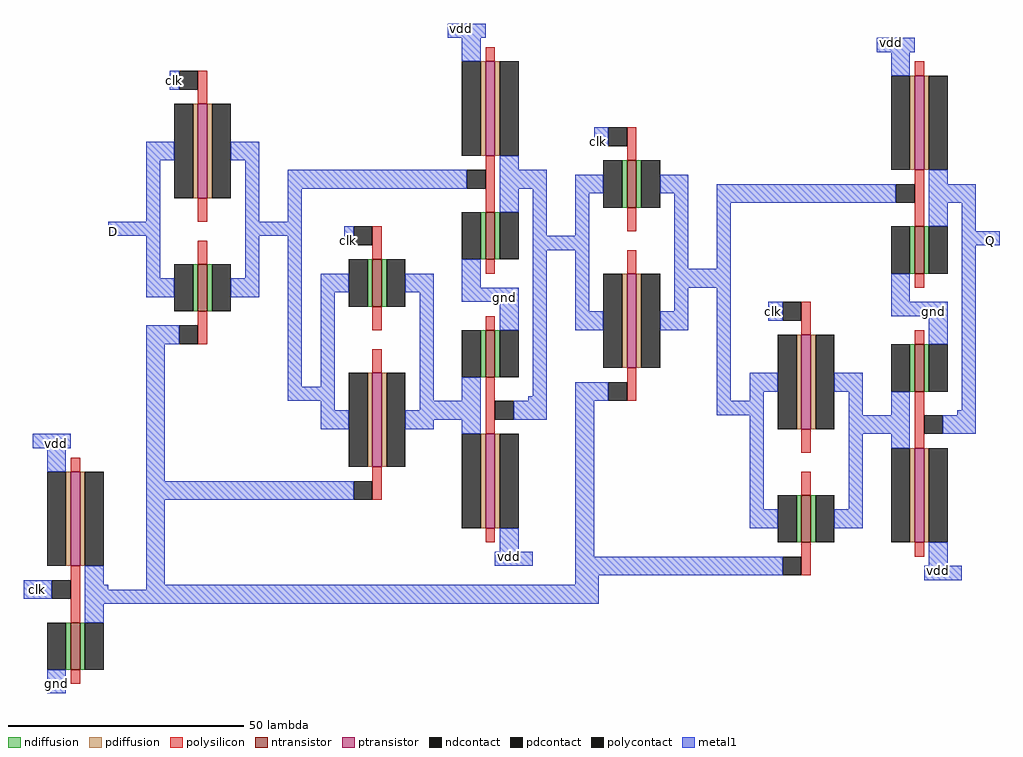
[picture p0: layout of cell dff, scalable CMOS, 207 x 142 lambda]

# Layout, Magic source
magic
tech scmos
<< ntransistor >>
rect -3 109 -1 119
rect -33 98 -31 108
rect -94 87 -92 97
rect -57 88 -55 98
rect 58 95 60 105
rect -33 73 -31 83
rect 58 70 60 80
rect 34 38 36 48
rect -121 11 -119 21
<< ptransistor >>
rect -94 111 -92 131
rect -33 120 -31 140
rect 58 117 60 137
rect -57 54 -55 74
rect -3 75 -1 95
rect 34 62 36 82
rect -121 33 -119 53
rect -33 41 -31 61
rect 58 38 60 58
<< ndiffusion >>
rect -4 109 -3 119
rect -1 109 0 119
rect -34 98 -33 108
rect -31 98 -30 108
rect -95 87 -94 97
rect -92 87 -91 97
rect -58 88 -57 98
rect -55 88 -54 98
rect 57 95 58 105
rect 60 95 61 105
rect -34 73 -33 83
rect -31 73 -30 83
rect 57 70 58 80
rect 60 70 61 80
rect 33 38 34 48
rect 36 38 37 48
rect -122 11 -121 21
rect -119 11 -118 21
<< pdiffusion >>
rect -95 111 -94 131
rect -92 111 -91 131
rect -34 120 -33 140
rect -31 120 -30 140
rect 57 117 58 137
rect 60 117 61 137
rect -58 54 -57 74
rect -55 54 -54 74
rect -4 75 -3 95
rect -1 75 0 95
rect 33 62 34 82
rect 36 62 37 82
rect -122 33 -121 53
rect -119 33 -118 53
rect -34 41 -33 61
rect -31 41 -30 61
rect 57 38 58 58
rect 60 38 61 58
<< ndcontact >>
rect -8 109 -4 119
rect 0 109 4 119
rect -38 98 -34 108
rect -30 98 -26 108
rect -99 87 -95 97
rect -91 87 -87 97
rect -62 88 -58 98
rect -54 88 -50 98
rect 53 95 57 105
rect 61 95 65 105
rect -38 73 -34 83
rect -30 73 -26 83
rect 53 70 57 80
rect 61 70 65 80
rect 29 38 33 48
rect 37 38 41 48
rect -126 11 -122 21
rect -118 11 -114 21
<< pdcontact >>
rect -99 111 -95 131
rect -91 111 -87 131
rect -38 120 -34 140
rect -30 120 -26 140
rect 53 117 57 137
rect 61 117 65 137
rect -62 54 -58 74
rect -54 54 -50 74
rect -8 75 -4 95
rect 0 75 4 95
rect 29 62 33 82
rect 37 62 41 82
rect -126 33 -122 53
rect -118 33 -114 53
rect -38 41 -34 61
rect -30 41 -26 61
rect 53 38 57 58
rect 61 38 65 58
<< polysilicon >>
rect -33 140 -31 143
rect -94 131 -92 138
rect 58 137 60 140
rect -94 106 -92 111
rect -33 108 -31 120
rect -3 119 -1 126
rect -94 97 -92 102
rect -57 98 -55 105
rect -3 104 -1 109
rect 58 105 60 117
rect -33 95 -31 98
rect -3 95 -1 100
rect -94 80 -92 87
rect -57 83 -55 88
rect -33 83 -31 86
rect -57 74 -55 79
rect -121 53 -119 56
rect 58 92 60 95
rect 34 82 36 89
rect -33 61 -31 73
rect -3 68 -1 75
rect 58 80 60 83
rect -57 47 -55 54
rect 34 57 36 62
rect 58 58 60 70
rect 34 48 36 53
rect -33 38 -31 41
rect -121 21 -119 33
rect 34 31 36 38
rect 58 35 60 38
rect -121 8 -119 11
<< polycontact >>
rect -98 134 -94 138
rect -7 122 -3 126
rect -37 113 -33 117
rect 54 110 58 114
rect -61 101 -57 105
rect -98 80 -94 84
rect 30 85 34 89
rect -7 68 -3 72
rect -31 64 -27 68
rect -61 47 -57 51
rect 60 61 64 65
rect -125 26 -121 30
rect 30 31 34 35
<< metal1 >>
rect -41 145 -33 148
rect -38 140 -34 145
rect 50 142 58 145
rect -100 134 -98 138
rect -105 119 -99 123
rect -105 106 -102 119
rect -87 119 -81 123
rect 53 137 57 142
rect -10 122 -7 126
rect -113 103 -102 106
rect -105 94 -102 103
rect -84 106 -81 119
rect -30 117 -26 120
rect -75 113 -37 117
rect -30 113 -20 117
rect -75 106 -72 113
rect -30 108 -26 113
rect -84 103 -72 106
rect -105 90 -99 94
rect -84 94 -81 103
rect -87 90 -81 94
rect -105 80 -98 84
rect -129 58 -121 61
rect -126 53 -122 58
rect -131 26 -125 30
rect -118 29 -114 33
rect -105 51 -101 80
rect -75 71 -72 103
rect -63 101 -61 105
rect -23 103 -20 113
rect -14 112 -8 116
rect -14 103 -11 112
rect 4 112 10 116
rect 61 114 65 117
rect -23 100 -11 103
rect -68 91 -62 95
rect -68 71 -65 91
rect -50 91 -44 95
rect -75 68 -65 71
rect -68 66 -65 68
rect -68 62 -62 66
rect -47 68 -44 91
rect -38 92 -34 98
rect -38 89 -26 92
rect -30 83 -26 89
rect -38 68 -34 73
rect -23 69 -20 100
rect -14 87 -11 100
rect 7 96 10 112
rect 16 110 54 114
rect 61 110 71 114
rect 16 96 19 110
rect 61 105 65 110
rect -14 83 -8 87
rect 7 92 19 96
rect 7 87 10 92
rect 4 83 10 87
rect -24 68 -20 69
rect -47 66 -34 68
rect -50 64 -34 66
rect -27 64 -20 68
rect -14 68 -7 72
rect 16 68 19 92
rect 68 104 71 110
rect 68 101 76 104
rect 53 89 57 95
rect 27 85 30 89
rect 53 86 65 89
rect 23 70 29 74
rect 23 68 26 70
rect -50 62 -44 64
rect -38 61 -34 64
rect -105 47 -61 51
rect -105 29 -101 47
rect -30 36 -26 41
rect -31 33 -23 36
rect -14 35 -10 68
rect 16 65 26 68
rect 23 45 26 65
rect 61 80 65 86
rect 41 70 47 74
rect 44 65 47 70
rect 53 65 57 70
rect 68 66 71 101
rect 67 65 71 66
rect 44 61 57 65
rect 64 61 71 65
rect 23 41 29 45
rect 44 45 47 61
rect 41 41 47 45
rect 53 58 57 61
rect -14 31 30 35
rect 61 33 65 38
rect -14 29 -9 31
rect 60 30 68 33
rect -118 28 -113 29
rect -105 28 -9 29
rect -118 25 -9 28
rect -118 21 -114 25
rect -126 6 -122 11
<< labels >>
rlabel metal1 -128 28 -128 28 3 clk
rlabel metal1 -124 59 -124 59 1 vdd
rlabel metal1 -124 8 -124 8 1 gnd
rlabel metal1 -28 35 -28 35 1 vdd
rlabel metal1 -29 90 -29 90 1 gnd
rlabel metal1 -38 147 -38 147 5 vdd
rlabel metal1 -99 136 -99 136 1 clk
rlabel metal1 -62 102 -62 102 1 clk
rlabel metal1 53 144 53 144 5 vdd
rlabel metal1 62 87 62 87 1 gnd
rlabel metal1 63 32 63 32 1 vdd
rlabel metal1 28 87 28 87 3 clk
rlabel metal1 -9 123 -9 123 1 clk
rlabel metal1 -112 104 -112 104 1 D
rlabel metal1 74 102 74 102 7 Q
<< end >>
